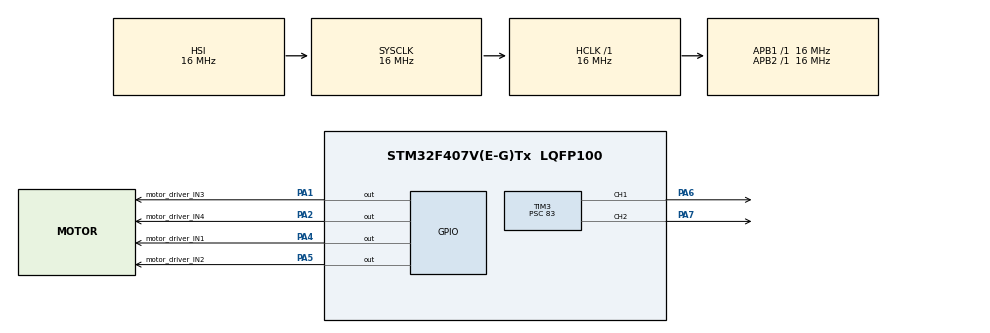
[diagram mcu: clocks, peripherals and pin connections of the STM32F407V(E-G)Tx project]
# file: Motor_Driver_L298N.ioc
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Mcu.Family=STM32F4
RCC.CortexFreq_Value=16000000
ProjectManager.StackSize=0x400
ProjectManager.TargetToolchain=STM32CubeIDE
TIM3.Period=9999
RCC.LSE_VALUE=32768
PA1.Signal=GPIO_Output
RCC.AHBFreq_Value=16000000
TIM3.Channel-PWM\ Generation1\ CH1=TIM_CHANNEL_1
PA5.Signal=GPIO_Output
SH.S_TIM3_CH2.0=TIM3_CH2,PWM Generation2 CH2
RCC.HSE_VALUE=25000000
board=custom
RCC.VCOOutputFreq_Value=192000000
RCC.APB2Freq_Value=16000000
TIM3.Prescaler=83
PA1.GPIO_Label=motor_driver_IN3
SH.S_TIM3_CH1.0=TIM3_CH1,PWM Generation1 CH1
Mcu.Name=STM32F407V(E-G)Tx
PA2.Signal=GPIO_Output
PA4.Signal=GPIO_Output
RCC.SYSCLKFreq_VALUE=16000000
Mcu.Package=LQFP100
PA6.Signal=S_TIM3_CH1
PA5.GPIO_Label=motor_driver_IN2
PA2.GPIO_Label=motor_driver_IN4
ProjectManager.HeapSize=0x200
RCC.HSI_VALUE=16000000
NVIC.PriorityGroup=NVIC_PRIORITYGROUP_4
TIM3.Channel-PWM\ Generation2\ CH2=TIM_CHANNEL_2
RCC.APB1Freq_Value=16000000
PA4.GPIO_Label=motor_driver_IN1
PA7.Signal=S_TIM3_CH2

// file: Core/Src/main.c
/* USER CODE BEGIN Header */
/**
  ******************************************************************************
  * @file           : main.c
  * @brief          : Main program body
  ******************************************************************************
  * @attention
  *
  * <h2><center>&copy; Copyright (c) 2021 STMicroelectronics.
  * All rights reserved.</center></h2>
  *
  * This software component is licensed by ST under BSD 3-Clause license,
  * the "License"; You may not use this file except in compliance with the
  * License. You may obtain a copy of the License at:
  *                        opensource.org/licenses/BSD-3-Clause
  *
  ******************************************************************************
  */
/* USER CODE END Header */
#include "main.h"

TIM_HandleTypeDef htim3;

void SystemClock_Config(void);
static void MX_GPIO_Init(void);
static void MX_TIM3_Init(void);

/* USER CODE BEGIN 0 */
	void ileri(int s)
	{
		TIM3 -> CCR1 = s;
		TIM3 -> CCR2= s;

		HAL_GPIO_WritePin(motor_driver_IN1_GPIO_Port, motor_driver_IN1_Pin, GPIO_PIN_SET);
		HAL_GPIO_WritePin(motor_driver_IN2_GPIO_Port, motor_driver_IN2_Pin, GPIO_PIN_RESET);

		HAL_GPIO_WritePin(motor_driver_IN3_GPIO_Port, motor_driver_IN3_Pin, GPIO_PIN_SET);
		HAL_GPIO_WritePin(motor_driver_IN4_GPIO_Port, motor_driver_IN4_Pin, GPIO_PIN_RESET);
	}
/* USER CODE END 0 */

int main(void)
{

  /* MCU Configuration--------------------------------------------------------*/

  /* Reset of all peripherals, Initializes the Flash interface and the Systick. */
  HAL_Init();

  /* Configure the system clock */
  SystemClock_Config();

  /* Initialize all configured peripherals */
  MX_GPIO_Init();
  MX_TIM3_Init();
  /* USER CODE BEGIN 2 */
  HAL_TIM_PWM_Start(&htim3, TIM_CHANNEL_1);
  HAL_TIM_PWM_Start(&htim3, TIM_CHANNEL_2);

  /* USER CODE END 2 */

  /* Infinite loop */
  /* USER CODE BEGIN WHILE */
  while (1)
  {
	  ileri(1000);
	  HAL_Delay(2000);
	  ileri(5000);
	  HAL_Delay(2000);
	  ileri(9000);
	  HAL_Delay(2000);
    /* USER CODE END WHILE */

  }
}

void SystemClock_Config(void)
{
  RCC_OscInitTypeDef RCC_OscInitStruct = {0};
  RCC_ClkInitTypeDef RCC_ClkInitStruct = {0};

  /** Configure the main internal regulator output voltage
  */
  __HAL_RCC_PWR_CLK_ENABLE();
  __HAL_PWR_VOLTAGESCALING_CONFIG(PWR_REGULATOR_VOLTAGE_SCALE1);
  /** Initializes the RCC Oscillators according to the specified parameters
  * in the RCC_OscInitTypeDef structure.
  */
  RCC_OscInitStruct.OscillatorType = RCC_OSCILLATORTYPE_HSI;
  RCC_OscInitStruct.HSIState = RCC_HSI_ON;
  RCC_OscInitStruct.HSICalibrationValue = RCC_HSICALIBRATION_DEFAULT;
  RCC_OscInitStruct.PLL.PLLState = RCC_PLL_NONE;
  if (HAL_RCC_OscConfig(&RCC_OscInitStruct) != HAL_OK)
  {
    Error_Handler();
  }
  /** Initializes the CPU, AHB and APB buses clocks
  */
  RCC_ClkInitStruct.ClockType = RCC_CLOCKTYPE_HCLK|RCC_CLOCKTYPE_SYSCLK
                              |RCC_CLOCKTYPE_PCLK1|RCC_CLOCKTYPE_PCLK2;
  RCC_ClkInitStruct.SYSCLKSource = RCC_SYSCLKSOURCE_HSI;
  RCC_ClkInitStruct.AHBCLKDivider = RCC_SYSCLK_DIV1;
  RCC_ClkInitStruct.APB1CLKDivider = RCC_HCLK_DIV1;
  RCC_ClkInitStruct.APB2CLKDivider = RCC_HCLK_DIV1;

  if (HAL_RCC_ClockConfig(&RCC_ClkInitStruct, FLASH_LATENCY_0) != HAL_OK)
  {
    Error_Handler();
  }
}

static void MX_TIM3_Init(void)
{

  TIM_MasterConfigTypeDef sMasterConfig = {0};
  TIM_OC_InitTypeDef sConfigOC = {0};

  htim3.Instance = TIM3;
  htim3.Init.Prescaler = 83;
  htim3.Init.CounterMode = TIM_COUNTERMODE_UP;
  htim3.Init.Period = 9999;
  htim3.Init.ClockDivision = TIM_CLOCKDIVISION_DIV1;
  htim3.Init.AutoReloadPreload = TIM_AUTORELOAD_PRELOAD_DISABLE;
  if (HAL_TIM_PWM_Init(&htim3) != HAL_OK)
  {
    Error_Handler();
  }
  sMasterConfig.MasterOutputTrigger = TIM_TRGO_RESET;
  sMasterConfig.MasterSlaveMode = TIM_MASTERSLAVEMODE_DISABLE;
  if (HAL_TIMEx_MasterConfigSynchronization(&htim3, &sMasterConfig) != HAL_OK)
  {
    Error_Handler();
  }
  sConfigOC.OCMode = TIM_OCMODE_PWM1;
  sConfigOC.Pulse = 0;
  sConfigOC.OCPolarity = TIM_OCPOLARITY_HIGH;
  sConfigOC.OCFastMode = TIM_OCFAST_DISABLE;
  if (HAL_TIM_PWM_ConfigChannel(&htim3, &sConfigOC, TIM_CHANNEL_1) != HAL_OK)
  {
    Error_Handler();
  }
  if (HAL_TIM_PWM_ConfigChannel(&htim3, &sConfigOC, TIM_CHANNEL_2) != HAL_OK)
  {
    Error_Handler();
  }
  HAL_TIM_MspPostInit(&htim3);

}

static void MX_GPIO_Init(void)
{
  GPIO_InitTypeDef GPIO_InitStruct = {0};

  /* GPIO Ports Clock Enable */
  __HAL_RCC_GPIOA_CLK_ENABLE();

  /*Configure GPIO pin Output Level */
  HAL_GPIO_WritePin(GPIOA, motor_driver_IN3_Pin|motor_driver_IN4_Pin|motor_driver_IN1_Pin|motor_driver_IN2_Pin, GPIO_PIN_RESET);

  /*Configure GPIO pins : motor_driver_IN3_Pin motor_driver_IN4_Pin motor_driver_IN1_Pin motor_driver_IN2_Pin */
  GPIO_InitStruct.Pin = motor_driver_IN3_Pin|motor_driver_IN4_Pin|motor_driver_IN1_Pin|motor_driver_IN2_Pin;
  GPIO_InitStruct.Mode = GPIO_MODE_OUTPUT_PP;
  GPIO_InitStruct.Pull = GPIO_NOPULL;
  GPIO_InitStruct.Speed = GPIO_SPEED_FREQ_LOW;
  HAL_GPIO_Init(GPIOA, &GPIO_InitStruct);

}

void Error_Handler(void)
{
  __disable_irq();
  while (1)
  {
  }
}

/************************ (C) COPYRIGHT STMicroelectronics *****END OF FILE****/
